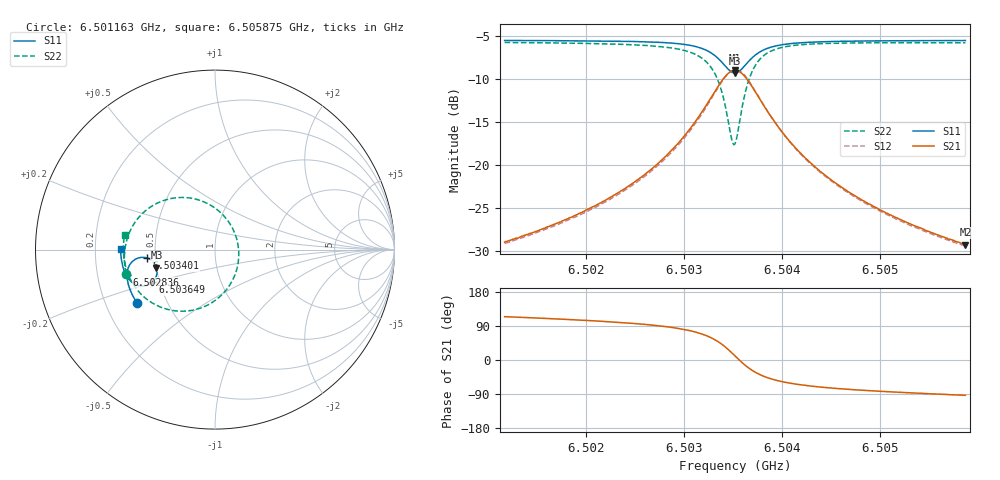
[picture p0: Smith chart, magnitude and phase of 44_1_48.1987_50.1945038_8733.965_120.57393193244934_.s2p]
#  HZ  S  RI  R  50.00
! Rohde & Schwarz Vector Network Analyzer
! Rohde-Schwarz,ZNB20-2Port,1311601062101988,3.16
! Created: UTC 3/20/2024, 11:37:59 AM
! freq[Hz]  re:S11  im:S11  re:S21  im:S21  re:S12  im:S12  re:S22  im:S22
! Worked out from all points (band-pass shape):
!   401 points, 6.501163 GHz to 6.505875 GHz, reference 50 ohm
!   highest |S21| = -9.02 dB at 6.503519 GHz (marker M1); lowest = -29.2 dB at 6.505875 GHz (marker M2)
!   |S21| within 3 dB of the highest: 6.503283 GHz to 6.503754 GHz (471 kHz wide, 0.00724 % of centre)
!   lowest |S11| = -9.3 dB at 6.503519 GHz (marker M3), VSWR 2.04, Z = 25 - j5.67 ohm
!   |S11| at or under -10 dB: nowhere
!   |S22| runs from -17.7 to -5.8 dB; largest |S21 - S12| = 0.012
!   S11 on the Smith chart (normalised r, x): 6.501163 GHz: 0.34, -0.27; 6.502836 GHz: 0.33, -0.13; 6.503401 GHz: 0.45, -0.05; 6.503649 GHz: 0.46, -0.20; 6.505875 GHz: 0.31, +0.00
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6.5011626e9  -0.4357 -0.2953  -0.0148 0.0326  -0.0129 0.0326  -0.4951 -0.1337
6.501952e9  -0.4683 -0.235  -0.0137 0.0512  -0.0114 0.0509  -0.5046 -0.0458
6.502388e9  -0.4829 -0.1948  -0.0103 0.0719  -0.00726 0.0707  -0.4991 0.02
6.5027414e9  -0.4904 -0.1536  -0.000324 0.1032  0.00332 0.1006  -0.4764 0.0967
6.5028357e9  -0.4905 -0.1401  0.00555 0.1159  0.00936 0.1127  -0.4633 0.1234
6.503036e9  -0.4848 -0.1055  0.0307 0.1528  0.0344 0.1478  -0.4109 0.1945
6.5031773e9  -0.4682 -0.0748  0.0726 0.1878  0.0752 0.1816  -0.33 0.2548
6.5033069e9  -0.4304 -0.0478  0.1532 0.2141  0.1538 0.2077  -0.1831 0.2904
6.5034012e9  -0.3816 -0.0457  0.2486 0.1961  0.2486 0.1914  -0.0179 0.2435
6.5034837e9  -0.3371 -0.0768  0.3296 0.1173  0.3323 0.1132  0.1116 0.0878
6.503519e9  -0.326 -0.1003  0.3476 0.0662  0.3515 0.0607  0.1323 -0.00847
6.5035426e9  -0.323 -0.1173  0.3508 0.0301  0.3551 0.0232  0.1289 -0.075
6.5035779e9  -0.3253 -0.1425  0.3425 -0.0222  0.3464 -0.0314  0.0994 -0.1679
6.5036486e9  -0.3487 -0.1813  0.2931 -0.1013  0.2931 -0.1134  -0.0176 -0.2957
6.5037429e9  -0.3912 -0.2018  0.2114 -0.1456  0.2061 -0.1563  -0.1844 -0.3433
6.5038136e9  -0.4183 -0.2018  0.1617 -0.1508  0.1547 -0.159  -0.2772 -0.3295
6.503896e9  -0.4421 -0.1946  0.1197 -0.1444  0.112 -0.1502  -0.351 -0.2964
6.504061e9  -0.4721 -0.1734  0.0699 -0.1222  0.0631 -0.1248  -0.4316 -0.2264
6.5043084e9  -0.495 -0.1422  0.0358 -0.0943  0.0308 -0.0948  -0.4806 -0.1465
6.5046619e9  -0.5109 -0.1037  0.0158 -0.0692  0.0124 -0.0688  -0.504 -0.0697
6.5050978e9  -0.5205 -0.0623  0.00555 -0.0513  0.00305 -0.0507  -0.5107 -0.00381
6.5058754e9  -0.5261 0.00461  -0.00192 -0.0346  -0.00338 -0.0337  -0.504 0.0825
